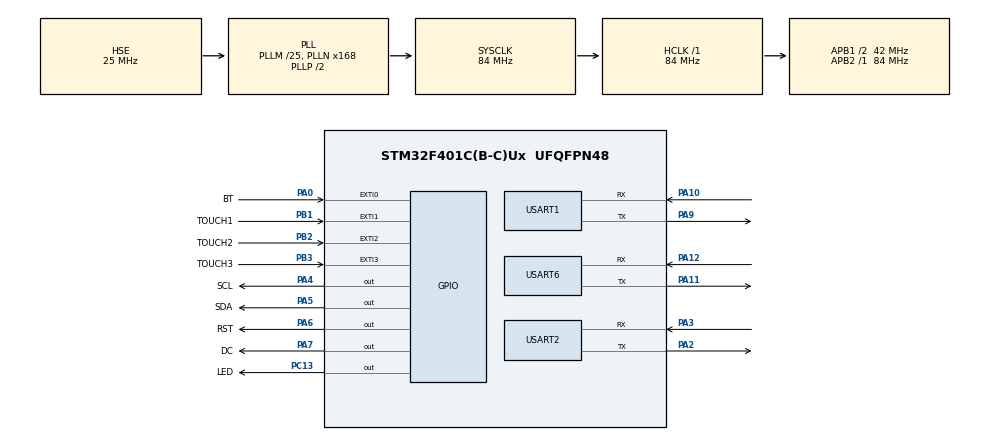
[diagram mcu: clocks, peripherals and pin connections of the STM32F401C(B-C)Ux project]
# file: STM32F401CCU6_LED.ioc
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FREERTOS.BinarySemaphores01=myBinarySem01,Dynamic,NULL
FREERTOS.INCLUDE_eTaskGetState=1
FREERTOS.Tasks01=defaultTask,0,128,StartDefaultTask,Default,NULL,Dynamic,NULL,NULL;myTask01,-2,128,LedStatus,Default,NULL,Dynamic,NULL,NULL;myTask02,-2,128,Display,Default,NULL,Dynamic,NULL,NULL;myTask03,-2,128,NetConnect,Default,NULL,Dynamic,NULL,NULL
Mcu.Family=STM32F4
Mcu.Name=STM32F401C(B-C)Ux
Mcu.Package=UFQFPN48
NVIC.EXTI0_IRQn=true\:5\:0\:false\:false\:true\:true\:true\:true
NVIC.EXTI1_IRQn=true\:5\:0\:false\:false\:true\:true\:true\:true
NVIC.EXTI2_IRQn=true\:5\:0\:false\:false\:true\:true\:true\:true
NVIC.EXTI3_IRQn=true\:5\:0\:false\:false\:true\:true\:true\:true
NVIC.PriorityGroup=NVIC_PRIORITYGROUP_4
NVIC.TIM1_UP_TIM10_IRQn=true\:15\:0\:false\:false\:true\:false\:false\:true
NVIC.TimeBase=TIM1_UP_TIM10_IRQn
NVIC.TimeBaseIP=TIM10
NVIC.USART2_IRQn=true\:5\:0\:false\:false\:true\:true\:true\:true
PA0-WKUP.GPIO_Label=BT
PA0-WKUP.Signal=GPXTI0
PA10.Mode=Asynchronous
PA10.Signal=USART1_RX
PA11.Mode=Asynchronous
PA11.Signal=USART6_TX
PA12.Mode=Asynchronous
PA12.Signal=USART6_RX
PA13.Mode=Serial_Wire
PA13.Signal=SYS_JTMS-SWDIO
PA14.Mode=Serial_Wire
PA14.Signal=SYS_JTCK-SWCLK
PA2.Mode=Asynchronous
PA2.Signal=USART2_TX
PA3.Mode=Asynchronous
PA3.Signal=USART2_RX
PA4.GPIO_Label=SCL
PA4.Signal=GPIO_Output
PA5.GPIO_Label=SDA
PA5.Signal=GPIO_Output
PA6.GPIO_Label=RST
PA6.Signal=GPIO_Output
PA7.GPIO_Label=DC
PA7.Signal=GPIO_Output
PA9.Mode=Asynchronous
PA9.Signal=USART1_TX
PB1.GPIO_Label=TOUCH1
PB1.Signal=GPXTI1
PB2.GPIO_Label=TOUCH2
PB2.Signal=GPXTI2
PB3.GPIO_Label=TOUCH3
PB3.Signal=GPXTI3
PC13-ANTI_TAMP.GPIO_Label=LED
PC13-ANTI_TAMP.Signal=GPIO_Output
PH0\ -\ OSC_IN.Mode=HSE-External-Oscillator
PH0\ -\ OSC_IN.Signal=RCC_OSC_IN
PH1\ -\ OSC_OUT.Mode=HSE-External-Oscillator
PH1\ -\ OSC_OUT.Signal=RCC_OSC_OUT
ProjectManager.HeapSize=0x200
ProjectManager.StackSize=0x400
ProjectManager.TargetToolchain=MDK-ARM V5.32
RCC.48MHZClocksFreq_Value=42000000
RCC.AHBFreq_Value=84000000
RCC.APB1CLKDivider=RCC_HCLK_DIV2
RCC.APB1Freq_Value=42000000
RCC.APB1TimFreq_Value=84000000
RCC.APB2Freq_Value=84000000
RCC.APB2TimFreq_Value=84000000
RCC.CortexFreq_Value=84000000
RCC.HCLKFreq_Value=84000000
RCC.HSE_VALUE=25000000
RCC.HSI_VALUE=16000000
RCC.LSE_VALUE=32768
RCC.PLLM=25
RCC.PLLN=168
RCC.PLLSourceVirtual=RCC_PLLSOURCE_HSE
RCC.SYSCLKFreq_VALUE=84000000
RCC.SYSCLKSource=RCC_SYSCLKSOURCE_PLLCLK
RCC.VCOOutputFreq_Value=168000000
USART1.VirtualMode=VM_ASYNC
USART2.VirtualMode=VM_ASYNC
USART6.VirtualMode=VM_ASYNC
VP_FREERTOS_VS_CMSIS_V1.Mode=CMSIS_V1
VP_SYS_VS_tim10.Mode=TIM10
VP_TIM2_VS_ClockSourceINT.Mode=Internal
board=custom

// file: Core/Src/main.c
/* USER CODE BEGIN Header */
/**
  ******************************************************************************
  * @file           : main.c
  * @brief          : Main program body
  ******************************************************************************
  * @attention
  *
  * Copyright (c) 2022 STMicroelectronics.
  * All rights reserved.
  *
  * This software is licensed under terms that can be found in the LICENSE file
  * in the root directory of this software component.
  * If no LICENSE file comes with this software, it is provided AS-IS.
  *
  ******************************************************************************
  */
/* USER CODE END Header */
#include "main.h"
#include "cmsis_os.h"
#include "tim.h"
#include "usart.h"
#include "gpio.h"

/* USER CODE BEGIN Includes */

#include "bsp_led.h"
#include "bsp_uart.h "
#include "OLED.h"
/* USER CODE END Includes */

void SystemClock_Config(void);
void MX_FREERTOS_Init(void);

/* USER CODE BEGIN 0 */

uint16_t times = 0;
uint8_t  bt_flag = 0;

/* USER CODE END 0 */

int main(void)
{

  /* MCU Configuration--------------------------------------------------------*/

  /* Reset of all peripherals, Initializes the Flash interface and the Systick. */
  HAL_Init();

  /* Configure the system clock */
  SystemClock_Config();

  /* Initialize all configured peripherals */
  MX_GPIO_Init();
  MX_USART6_UART_Init();
  MX_USART1_UART_Init();
  MX_TIM2_Init();
  MX_USART2_UART_Init();
  /* USER CODE BEGIN 2 */
  LCD_Init();
  /* USER CODE END 2 */

  /* Call init function for freertos objects (in freertos.c) */
  MX_FREERTOS_Init();
  /* Start scheduler */
  osKernelStart();

  /* We should never get here as control is now taken by the scheduler */
  /* Infinite loop */
  while (1)
  {

  }
}

void SystemClock_Config(void)
{
  RCC_OscInitTypeDef RCC_OscInitStruct = {0};
  RCC_ClkInitTypeDef RCC_ClkInitStruct = {0};

  /** Configure the main internal regulator output voltage
  */
  __HAL_RCC_PWR_CLK_ENABLE();
  __HAL_PWR_VOLTAGESCALING_CONFIG(PWR_REGULATOR_VOLTAGE_SCALE2);
  /** Initializes the RCC Oscillators according to the specified parameters
  * in the RCC_OscInitTypeDef structure.
  */
  RCC_OscInitStruct.OscillatorType = RCC_OSCILLATORTYPE_HSE;
  RCC_OscInitStruct.HSEState = RCC_HSE_ON;
  RCC_OscInitStruct.PLL.PLLState = RCC_PLL_ON;
  RCC_OscInitStruct.PLL.PLLSource = RCC_PLLSOURCE_HSE;
  RCC_OscInitStruct.PLL.PLLM = 25;
  RCC_OscInitStruct.PLL.PLLN = 168;
  RCC_OscInitStruct.PLL.PLLP = RCC_PLLP_DIV2;
  RCC_OscInitStruct.PLL.PLLQ = 4;
  if (HAL_RCC_OscConfig(&RCC_OscInitStruct) != HAL_OK)
  {
    Error_Handler();
  }
  /** Initializes the CPU, AHB and APB buses clocks
  */
  RCC_ClkInitStruct.ClockType = RCC_CLOCKTYPE_HCLK|RCC_CLOCKTYPE_SYSCLK
                              |RCC_CLOCKTYPE_PCLK1|RCC_CLOCKTYPE_PCLK2;
  RCC_ClkInitStruct.SYSCLKSource = RCC_SYSCLKSOURCE_PLLCLK;
  RCC_ClkInitStruct.AHBCLKDivider = RCC_SYSCLK_DIV1;
  RCC_ClkInitStruct.APB1CLKDivider = RCC_HCLK_DIV2;
  RCC_ClkInitStruct.APB2CLKDivider = RCC_HCLK_DIV1;

  if (HAL_RCC_ClockConfig(&RCC_ClkInitStruct, FLASH_LATENCY_2) != HAL_OK)
  {
    Error_Handler();
  }
}

void HAL_TIM_PeriodElapsedCallback(TIM_HandleTypeDef *htim)
{
  if (htim->Instance == TIM10) {
    HAL_IncTick();
  }
}

void Error_Handler(void)
{
  __disable_irq();
  while (1)
  {
  }
}

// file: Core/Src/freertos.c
/* USER CODE BEGIN Header */
/**
  ******************************************************************************
  * File Name          : freertos.c
  * Description        : Code for freertos applications
  ******************************************************************************
  * @attention
  *
  * Copyright (c) 2022 STMicroelectronics.
  * All rights reserved.
  *
  * This software is licensed under terms that can be found in the LICENSE file
  * in the root directory of this software component.
  * If no LICENSE file comes with this software, it is provided AS-IS.
  *
  ******************************************************************************
  */
/* USER CODE END Header */

#include "FreeRTOS.h"
#include "task.h"
#include "main.h"
#include "cmsis_os.h"

/* USER CODE BEGIN Includes */
#include "menu.h"
#include "bsp_led.h"
#include "bsp_uart.h"

/* USER CODE END Includes */

osThreadId defaultTaskHandle;
osThreadId myTask01Handle;
osThreadId myTask02Handle;
osThreadId myTask03Handle;
osSemaphoreId myBinarySem01Handle;

void StartDefaultTask(void const * argument);
void LedStatus(void const * argument);
void Display(void const * argument);
void NetConnect(void const * argument);

void MX_FREERTOS_Init(void); /* (MISRA C 2004 rule 8.1) */

/* GetIdleTaskMemory prototype (linked to static allocation support) */
void vApplicationGetIdleTaskMemory( StaticTask_t **ppxIdleTaskTCBBuffer, StackType_t **ppxIdleTaskStackBuffer, uint32_t *pulIdleTaskStackSize );

/* USER CODE BEGIN GET_IDLE_TASK_MEMORY */
static StaticTask_t xIdleTaskTCBBuffer;
static StackType_t xIdleStack[configMINIMAL_STACK_SIZE];

void vApplicationGetIdleTaskMemory( StaticTask_t **ppxIdleTaskTCBBuffer, StackType_t **ppxIdleTaskStackBuffer, uint32_t *pulIdleTaskStackSize )
{
  *ppxIdleTaskTCBBuffer = &xIdleTaskTCBBuffer;
  *ppxIdleTaskStackBuffer = &xIdleStack[0];
  *pulIdleTaskStackSize = configMINIMAL_STACK_SIZE;
  /* place for user code */
}
/* USER CODE END GET_IDLE_TASK_MEMORY */

void MX_FREERTOS_Init(void) {

  /* Create the semaphores(s) */
  /* definition and creation of myBinarySem01 */
  osSemaphoreDef(myBinarySem01);
  myBinarySem01Handle = osSemaphoreCreate(osSemaphore(myBinarySem01), 1);

  /* Create the thread(s) */
  /* definition and creation of defaultTask */
  osThreadDef(defaultTask, StartDefaultTask, osPriorityNormal, 0, 128);
  defaultTaskHandle = osThreadCreate(osThread(defaultTask), NULL);

  /* definition and creation of myTask01 */
  osThreadDef(myTask01, LedStatus, osPriorityLow, 0, 128);
  myTask01Handle = osThreadCreate(osThread(myTask01), NULL);

  /* definition and creation of myTask02 */
  osThreadDef(myTask02, Display, osPriorityLow, 0, 128);
  myTask02Handle = osThreadCreate(osThread(myTask02), NULL);

  /* definition and creation of myTask03 */
  osThreadDef(myTask03, NetConnect, osPriorityLow, 0, 128);
  myTask03Handle = osThreadCreate(osThread(myTask03), NULL);

}

void StartDefaultTask(void const * argument)
{
  for(;;)
  {
    osDelay(1);
  }
}

void LedStatus(void const * argument)
{
  /* USER CODE BEGIN LedStatus */
  uint8_t i = 0;
  /* Infinite loop */
  for(;;)
  {
    i++;
	  L_TOOGLE;
    if(i%10 == 0)
    {
      user_debug("ϵͳ��������");
      i = 0;
    }
	  osDelay(1000);
  }
  /* USER CODE END LedStatus */
}

void Display(void const * argument)
{
  /* USER CODE BEGIN Display */
	#if 0
    LCD_Print(0, 0, "���ܼҾӹ���ϵͳ",TYPE16X16,TYPE8X16);
    vTaskDelay(1000);
    LCD_CLS();

    LCD_Print(0, 0, "��»�",TYPE16X16,TYPE8X16);
    vTaskDelay(1000);
	LCD_CLS();
	LCD_Print(20, 0, "-->��һ��",TYPE16X16,TYPE8X16);
    vTaskDelay(1000);
    LCD_CLS();
	#endif
  /* Infinite loop */
  for(;;)
  {
	  #if 1
      osDelay(1);
    #else
       Dis_Page(myStrPtr);
	    osDelay(1000);
    #endif
    osDelay(1);
  }
  /* USER CODE END Display */
}

void NetConnect(void const * argument)
{
  for(;;)
  {
    osDelay(1);
  }
}
